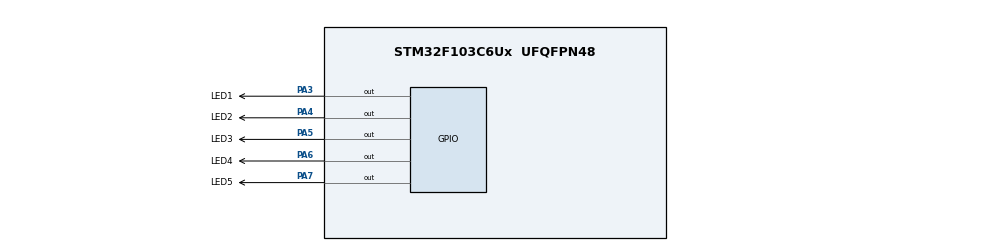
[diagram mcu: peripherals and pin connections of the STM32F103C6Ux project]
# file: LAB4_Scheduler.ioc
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Mcu.Family=STM32F1
Mcu.Name=STM32F103C6Ux
Mcu.Package=UFQFPN48
NVIC.PriorityGroup=NVIC_PRIORITYGROUP_4
NVIC.TIM2_IRQn=true\:0\:0\:false\:false\:true\:true\:true
PA3.GPIO_Label=LED1
PA3.Signal=GPIO_Output
PA4.GPIO_Label=LED2
PA4.Signal=GPIO_Output
PA5.GPIO_Label=LED3
PA5.Signal=GPIO_Output
PA6.GPIO_Label=LED4
PA6.Signal=GPIO_Output
PA7.GPIO_Label=LED5
PA7.Signal=GPIO_Output
ProjectManager.HeapSize=0x200
ProjectManager.StackSize=0x400
ProjectManager.TargetToolchain=STM32CubeIDE
RCC.APB1Freq_Value=8000000
RCC.APB2Freq_Value=8000000
TIM2.Period=9
TIM2.Prescaler=7999
VP_SYS_VS_ND.Mode=No_Debug
VP_TIM2_VS_ClockSourceINT.Mode=Internal
board=custom

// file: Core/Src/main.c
/* USER CODE BEGIN Header */
/**
  ******************************************************************************
  * @file           : main.c
  * @brief          : Main program body
  ******************************************************************************
  * @attention
  *
  * <h2><center>&copy; Copyright (c) 2022 STMicroelectronics.
  * All rights reserved.</center></h2>
  *
  * This software component is licensed by ST under BSD 3-Clause license,
  * the "License"; You may not use this file except in compliance with the
  * License. You may obtain a copy of the License at:
  *                        opensource.org/licenses/BSD-3-Clause
  *
  ******************************************************************************
  */
/* USER CODE END Header */
#include "main.h"
#include "scheduler.h"

TIM_HandleTypeDef htim2;

void SystemClock_Config(void);
static void MX_GPIO_Init(void);
static void MX_TIM2_Init(void);

/* USER CODE BEGIN 0 */
void displayLED1()
{
	HAL_GPIO_TogglePin(GPIOA, LED1_Pin);
}
void displayLED2()
{
	HAL_GPIO_TogglePin(GPIOA, LED2_Pin);
}
void displayLED3()
{
	HAL_GPIO_TogglePin(GPIOA, LED3_Pin);
}
void displayLED4()
{
	HAL_GPIO_TogglePin(GPIOA, LED4_Pin);
}
void displayLED5()
{
	HAL_GPIO_TogglePin(GPIOA, LED5_Pin);
}
/* USER CODE END 0 */

int main(void)
{

  /* MCU Configuration--------------------------------------------------------*/

  /* Reset of all peripherals, Initializes the Flash interface and the Systick. */
  HAL_Init();

  /* Configure the system clock */
  SystemClock_Config();

  /* Initialize all configured peripherals */
  MX_GPIO_Init();
  MX_TIM2_Init();
  HAL_TIM_Base_Start_IT(&htim2);
  /* USER CODE BEGIN 2 */
  SCH_Init();
  SCH_Add_Task(displayLED1,100, 100);
  SCH_Add_Task(displayLED2,200, 100);
  SCH_Add_Task(displayLED3,300, 100);
  SCH_Add_Task(displayLED4,400, 100);
  SCH_Add_Task(displayLED5,500, 0);
  /* USER CODE END 2 */

  /* Infinite loop */
  while (1)
  {
	  SCH_Dispatch_Tasks();
  }
}

void SystemClock_Config(void)
{
  RCC_OscInitTypeDef RCC_OscInitStruct = {0};
  RCC_ClkInitTypeDef RCC_ClkInitStruct = {0};

  /** Initializes the RCC Oscillators according to the specified parameters
  * in the RCC_OscInitTypeDef structure.
  */
  RCC_OscInitStruct.OscillatorType = RCC_OSCILLATORTYPE_HSI;
  RCC_OscInitStruct.HSIState = RCC_HSI_ON;
  RCC_OscInitStruct.HSICalibrationValue = RCC_HSICALIBRATION_DEFAULT;
  RCC_OscInitStruct.PLL.PLLState = RCC_PLL_NONE;
  if (HAL_RCC_OscConfig(&RCC_OscInitStruct) != HAL_OK)
  {
    Error_Handler();
  }
  /** Initializes the CPU, AHB and APB buses clocks
  */
  RCC_ClkInitStruct.ClockType = RCC_CLOCKTYPE_HCLK|RCC_CLOCKTYPE_SYSCLK
                              |RCC_CLOCKTYPE_PCLK1|RCC_CLOCKTYPE_PCLK2;
  RCC_ClkInitStruct.SYSCLKSource = RCC_SYSCLKSOURCE_HSI;
  RCC_ClkInitStruct.AHBCLKDivider = RCC_SYSCLK_DIV1;
  RCC_ClkInitStruct.APB1CLKDivider = RCC_HCLK_DIV1;
  RCC_ClkInitStruct.APB2CLKDivider = RCC_HCLK_DIV1;

  if (HAL_RCC_ClockConfig(&RCC_ClkInitStruct, FLASH_LATENCY_0) != HAL_OK)
  {
    Error_Handler();
  }
}

static void MX_TIM2_Init(void)
{

  TIM_ClockConfigTypeDef sClockSourceConfig = {0};
  TIM_MasterConfigTypeDef sMasterConfig = {0};

  htim2.Instance = TIM2;
  htim2.Init.Prescaler = 7999;
  htim2.Init.CounterMode = TIM_COUNTERMODE_UP;
  htim2.Init.Period = 9;
  htim2.Init.ClockDivision = TIM_CLOCKDIVISION_DIV1;
  htim2.Init.AutoReloadPreload = TIM_AUTORELOAD_PRELOAD_DISABLE;
  if (HAL_TIM_Base_Init(&htim2) != HAL_OK)
  {
    Error_Handler();
  }
  sClockSourceConfig.ClockSource = TIM_CLOCKSOURCE_INTERNAL;
  if (HAL_TIM_ConfigClockSource(&htim2, &sClockSourceConfig) != HAL_OK)
  {
    Error_Handler();
  }
  sMasterConfig.MasterOutputTrigger = TIM_TRGO_RESET;
  sMasterConfig.MasterSlaveMode = TIM_MASTERSLAVEMODE_DISABLE;
  if (HAL_TIMEx_MasterConfigSynchronization(&htim2, &sMasterConfig) != HAL_OK)
  {
    Error_Handler();
  }

}

static void MX_GPIO_Init(void)
{
  GPIO_InitTypeDef GPIO_InitStruct = {0};

  /* GPIO Ports Clock Enable */
  __HAL_RCC_GPIOA_CLK_ENABLE();

  /*Configure GPIO pin Output Level */
  HAL_GPIO_WritePin(GPIOA, LED1_Pin|LED2_Pin|LED3_Pin|LED4_Pin
                          |LED5_Pin, GPIO_PIN_SET);

  /*Configure GPIO pins : LED1_Pin LED2_Pin LED3_Pin LED4_Pin
                           LED5_Pin */
  GPIO_InitStruct.Pin = LED1_Pin|LED2_Pin|LED3_Pin|LED4_Pin
                          |LED5_Pin;
  GPIO_InitStruct.Mode = GPIO_MODE_OUTPUT_PP;
  GPIO_InitStruct.Pull = GPIO_NOPULL;
  GPIO_InitStruct.Speed = GPIO_SPEED_FREQ_LOW;
  HAL_GPIO_Init(GPIOA, &GPIO_InitStruct);

}

/* USER CODE BEGIN 4 */
void HAL_TIM_PeriodElapsedCallback(TIM_HandleTypeDef *htim)
{
	SCH_Update();
}
/* USER CODE END 4 */

void Error_Handler(void)
{
  __disable_irq();
  while (1)
  {
  }
}

/************************ (C) COPYRIGHT STMicroelectronics *****END OF FILE****/
